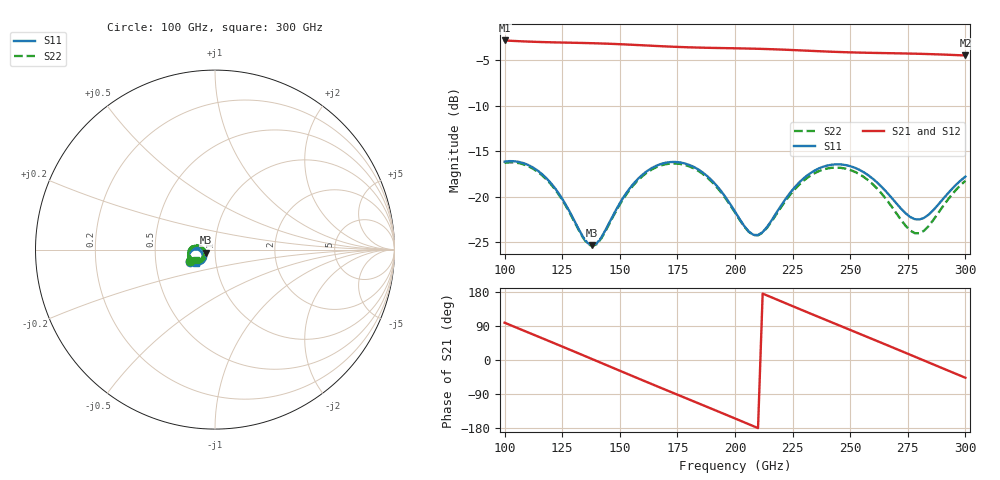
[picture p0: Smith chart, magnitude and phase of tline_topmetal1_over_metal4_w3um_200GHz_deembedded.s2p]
! Created with skrf 2.0.1 (http://scikit-rf.org).
# GHz S DB R 50.0
!freq dBS11 angS11 dBS21 angS21 dBS12 angS12 dBS22 angS22
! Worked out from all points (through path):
!   101 points, 100 GHz to 300 GHz, reference 50 ohm
!   highest |S21| = -2.80 dB at 100 GHz (marker M1); lowest = -4.5 dB at 300 GHz (marker M2)
!   group delay of S21, straight-line fit = 7.02 ps
!   lowest |S11| = -25.4 dB at 138 GHz (marker M3), VSWR 1.11, Z = 45.1 - j1.56 ohm
!   |S11| at or under -10 dB: start of sweep to end of sweep
!   |S22| runs from -25.4 to -16.2 dB; largest |S21 - S12| = 8.1e-14
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100  -16.13 -152.7  -2.80 98.4  -2.80 98.4  -16.27 -155.9
108  -16.28 -167.3  -2.90 78.3  -2.90 78.3  -16.42 -170.7
116  -17.45 179.7  -2.97 58.2  -2.97 58.2  -17.58 176.0
126  -20.64 170.4  -3.04 33.0  -3.04 33.0  -20.75 166.4
134  -24.41 -178.6  -3.08 12.6  -3.08 12.6  -24.49 177.0
138  -25.35 -161.4  -3.10 2.4  -3.10 2.4  -25.44 -166.1
152  -19.90 -132.9  -3.23 -33.4  -3.23 -33.4  -20.05 -138.2
160  -17.53 -140.7  -3.33 -53.7  -3.33 -53.7  -17.69 -146.3
168  -16.38 -152.6  -3.43 -73.9  -3.43 -73.9  -16.54 -158.4
176  -16.22 -165.3  -3.52 -94.0  -3.52 -94.0  -16.38 -171.3
184  -16.98 -177.1  -3.58 -114.0  -3.58 -114.0  -17.14 176.6
200  -21.64 173.9  -3.66 -154.3  -3.66 -154.3  -21.73 167.1
210  -24.21 -158.7  -3.72 -179.7  -3.72 -179.7  -24.24 -166.9
222  -20.22 -136.7  -3.82 149.7  -3.82 149.7  -20.42 -145.9
234  -17.20 -146.1  -3.96 119.4  -3.96 119.4  -17.48 -155.9
242  -16.47 -156.8  -4.04 99.3  -4.04 99.3  -16.81 -167.1
250  -16.63 -167.6  -4.11 79.3  -4.11 79.3  -17.05 -178.6
258  -17.66 -176.6  -4.16 59.3  -4.16 59.3  -18.22 171.6
268  -20.12 179.8  -4.21 34.2  -4.21 34.2  -21.08 167.3
280  -22.50 -159.4  -4.27 3.8  -4.27 3.8  -24.02 -166.8
290  -20.33 -142.1  -4.35 -21.6  -4.35 -21.6  -21.14 -146.8
300  -17.78 -144.3  -4.45 -46.8  -4.45 -46.8  -18.24 -150.6
